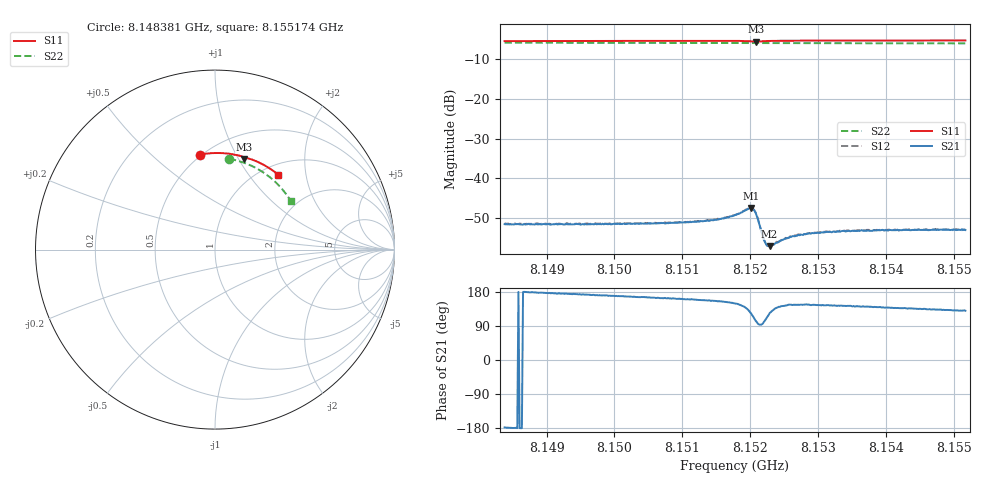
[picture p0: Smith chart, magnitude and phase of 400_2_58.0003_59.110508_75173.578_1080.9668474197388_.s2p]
#  HZ  S  RI  R  50.00
! Rohde & Schwarz Vector Network Analyzer
! Rohde-Schwarz,ZNB20-2Port,1311601062101988,3.16
! Created: UTC 3/21/2024, 1:08:12 AM
! freq[Hz]  re:S11  im:S11  re:S21  im:S21  re:S12  im:S12  re:S22  im:S22
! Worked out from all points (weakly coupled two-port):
!   401 points, 8.148381 GHz to 8.155174 GHz, reference 50 ohm
!   highest |S21| = -47.54 dB at 8.152015 GHz (marker M1); lowest = -57.1 dB at 8.152287 GHz (marker M2)
!   lowest |S11| = -5.5 dB at 8.152083 GHz (marker M3), VSWR 3.24, Z = 37.8 + j52.8 ohm
!   |S11| at or under -10 dB: nowhere
!   |S22| runs from -6.0 to -5.8 dB; largest |S21 - S12| = 0.00011
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8.1483808e9  -0.0862 0.529  -0.00263 -9.82e-05  -0.00269 -4.33e-05  0.0782 0.5057
8.1495187e9  -0.00733 0.5378  -0.0026 0.000337  -0.00264 0.000392  0.1497 0.4879
8.1506565e9  0.0718 0.5349  -0.00259 0.000757  -0.00262 0.000782  0.2174 0.46
8.1510641e9  0.1002 0.531  -0.00262 0.000938  -0.00261 0.000995  0.2404 0.4477
8.1514207e9  0.1252 0.5259  -0.0027 0.0012  -0.00274 0.00124  0.2598 0.436
8.1515736e9  0.136 0.5234  -0.00277 0.00132  -0.00277 0.00136  0.2681 0.4308
8.1517774e9  0.1509 0.5184  -0.00295 0.00176  -0.00293 0.00182  0.2789 0.4234
8.1519642e9  0.1641 0.5094  -0.0028 0.00296  -0.00278 0.00303  0.2886 0.4161
8.1520151e9  0.1654 0.5054  -0.00225 0.00354  -0.00223 0.00359  0.2909 0.4141
8.1520491e9  0.1648 0.5033  -0.0016 0.00371  -0.00158 0.00374  0.2926 0.4129
8.1520831e9  0.1633 0.5028  -0.000838 0.00354  -0.000806 0.00357  0.294 0.4116
8.152117e9  0.1626 0.5042  -0.000279 0.00298  -0.000269 0.00304  0.2959 0.4107
8.152185e9  0.1655 0.5081  -0.000188 0.00185  -0.000213 0.00189  0.2993 0.4082
8.1522189e9  0.1682 0.5092  -0.000388 0.00154  -0.000351 0.00151  0.3011 0.4069
8.1522529e9  0.1712 0.5097  -0.000564 0.00128  -0.000566 0.00131  0.3027 0.4055
8.1522868e9  0.1741 0.5098  -0.000765 0.00117  -0.000727 0.00118  0.3046 0.4043
8.1524906e9  0.19 0.507  -0.00134 0.00102  -0.00137 0.001  0.3147 0.3961
8.1526095e9  0.1988 0.5044  -0.00151 0.00103  -0.00148 0.00108  0.3204 0.3913
8.1529152e9  0.2193 0.4966  -0.00167 0.00116  -0.00167 0.00118  0.3348 0.3783
8.1533567e9  0.2477 0.4841  -0.00173 0.0013  -0.00174 0.0013  0.3548 0.3588
8.154053e9  0.2901 0.4611  -0.00167 0.00149  -0.00166 0.00149  0.3835 0.3258
8.1551739e9  0.3533 0.4166  -0.00143 0.0017  -0.00143 0.00176  0.4234 0.2682
